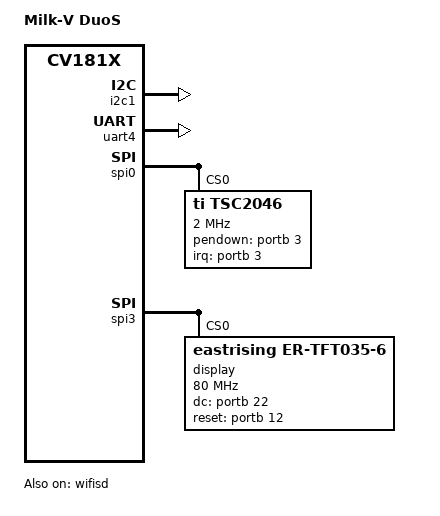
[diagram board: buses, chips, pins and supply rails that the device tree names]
/dts-v1/;
#include "cv181x_base_riscv.dtsi"
#include "cv181x_asic_bga.dtsi"
#include "cv181x_asic_sd.dtsi"
#include "cv181x_default_memmap.dtsi"

&mipi_rx{
	snsr-reset = <&porta 2 GPIO_ACTIVE_LOW>, <&porta 2 GPIO_ACTIVE_LOW>, <&porta 2 GPIO_ACTIVE_LOW>;
};

&dac{
	/delete-property/ mute-gpio-l;
	/delete-property/ mute-gpio-r;
};

&i2c0 {
	status = "disabled";
};

&i2c1 {
	status = "okay";
};

&usb {
	vbus-gpio = <&portb 6 0>;
};

&wifisd {
	status = "okay";
	cap-sd-highspeed;
	sd-uhs-sdr25;
	sd-uhs-ddr50;
	sd-uhs-sdr104;
	min-frequency = <400000>;
	max-frequency = <187500000>;
};

&wifi_pin {
	compatible = "cvitek,wifi-pin";
	poweron-gpio = <&porta 15 GPIO_ACTIVE_HIGH>;
	wakeup-gpio = <&porte 7 GPIO_ACTIVE_HIGH>;
};

&uart4 {
	status = "okay";
};

/ {
	model = "Milk-V DuoS";
};

&spi0 {
	status = "okay";
	spi-max-frequency = <19200000>;
	/delete-node/ spidev@0;
	tsc2046@0 {
		reg = <0>;	/* CS0 */
		compatible = "ti,tsc2046";
		interrupt-parent = <&portb>;
		interrupts = <3 IRQ_TYPE_LEVEL_LOW>;	/* BOOT6 / GPIO 8 */
		spi-max-frequency = <2000000>;
		pendown-gpio = <&portb 3 IRQ_TYPE_LEVEL_LOW>;

		ti,x-min = /bits/ 16 <0>;
		ti,x-max = /bits/ 16 <8000>;
		ti,y-min = /bits/ 16 <0>;
		ti,y-max = /bits/ 16 <4800>;
		ti,x-plate-ohms = /bits/ 16 <40>;
		ti,pressure-max = /bits/ 16 <255>;

		wakeup-source;
	};
};

&spi3 {
	status = "okay";
	/delete-node/ spidev@0;
	display@0{
		compatible = "eastrising,er-tft035-6";  //匹配驱动名称，使用st7789的话修改为sitronix,st7789v_240x320
		reg = <0>;
		status = "okay";
		spi-max-frequency = <80000000>;
		dc-gpios = <&portb 22 GPIO_ACTIVE_HIGH>;
		reset-gpios = <&portb 12 GPIO_ACTIVE_HIGH>;
		rotation = <270>;
	};
};
